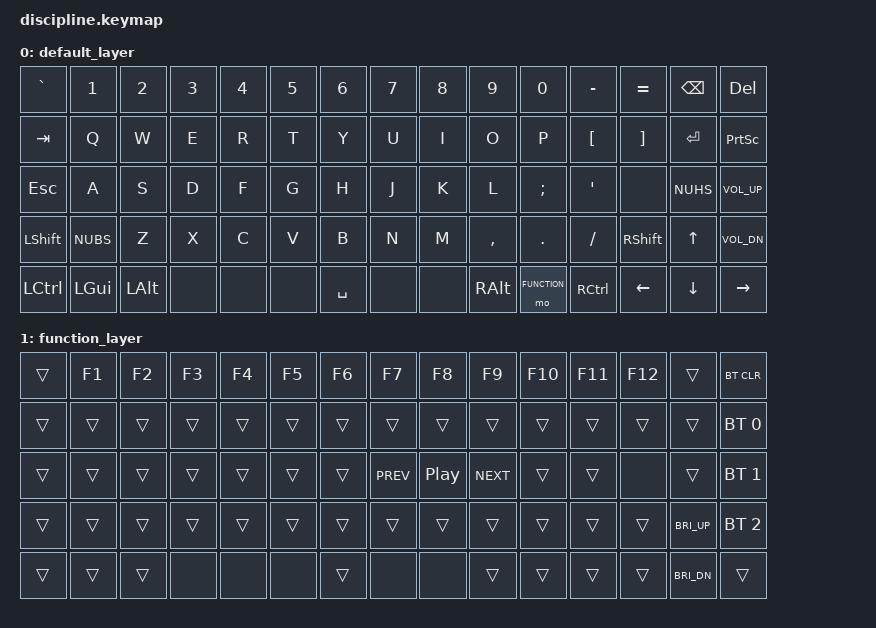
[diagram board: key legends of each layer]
#include <behaviors.dtsi>
#include <dt-bindings/zmk/keys.h>
#include <dt-bindings/zmk/bt.h>

#define DEFAULT 0
#define FUNCTION 1

// ┌───┬───┬───┬───┬───┬───┬───┬───┬───┬───┬───┬───┬───┬───────┬───┐
// │ ^ │ 1 │ 2 │ 3 │ 4 │ 5 │ 6 │ 7 │ 8 │ 9 │ 0 │ ß │ ´ │ <-    │DEL│
// ├───┴─┬─┴─┬─┴─┬─┴─┬─┴─┬─┴─┬─┴─┬─┴─┬─┴─┬─┴─┬─┴─┬─┴─┬─┴─┬─────┼───┤
// │ TAB │ Q │ W │ E │ R │ T │ Z │ U │ I │ O │ P │ Ü │ + │ENTER│PRT│
// ├─────┴┬──┴┬──┴┬──┴┬──┴┬──┴┬──┴┬──┴┬──┴┬──┴┬──┴┬──┴┬──┴┐    ├───┤
// │ ESC  │ A │ S │ D │ F │ G │ H │ J │ K │ L │ Ö │ Ä │ # │    │VUP│
// ├────┬─┴─┬─┴─┬─┴─┬─┴─┬─┴─┬─┴─┬─┴─┬─┴─┬─┴─┬─┴─┬─┴─┬─┴───┴┬───┼───┤
// │Shif│ < │ Y │ X │ C │ V │ B │ N │ M │ , │ . │ - │SHIFT │ ↑ │VDN│
// ├────┼───┴┬──┴─┬─┴───┴───┴───┴───┴───┴──┬┴──┬┴──┬┴──┬───┼───┼───┤
// │CTRL│SUP │ALT │                        │ALT│FN │CTR│ ← │ ↓ │ → │
// └────┴────┴────┴────────────────────────┴───┴───┴───┴───┴───┴───┘

/ {
	keymap {
		compatible = "zmk,keymap";

		default_layer {
			bindings = <
				&kp GRAVE	&kp N1		&kp N2		&kp N3	&kp N4	&kp N5	&kp N6		&kp N7	&kp N8	&kp N9		&kp N0		&kp MINUS	&kp EQUAL	&kp BSPC	&kp DEL
				&kp TAB		&kp Q		&kp W		&kp E	&kp R	&kp T	&kp Y		&kp U	&kp I	&kp O		&kp P		&kp LBKT	&kp RBKT	&kp RET		&kp PSCRN
				&kp ESC		&kp A		&kp S		&kp D	&kp F	&kp G	&kp H		&kp J	&kp K	&kp L		&kp SEMI	&kp SQT		&none		&kp NUHS	&kp C_VOL_UP
				&kp LSHFT	&kp NUBS	&kp Z		&kp X	&kp C	&kp V	&kp B		&kp N	&kp M	&kp COMMA	&kp DOT		&kp FSLH	&kp RSHFT	&kp UP		&kp C_VOL_DN
				&kp LCTRL	&kp LGUI	&kp LALT	&none	&none	&none	&kp SPACE	&none	&none	&kp RALT	&mo FUNCTION	&kp RCTRL	&kp LEFT	&kp DOWN	&kp RIGHT	
			>;

		};

		function_layer {
			bindings = <
				&trans	&kp F1	&kp F2	&kp F3	&kp F4	&kp F5	&kp F6	&kp F7	&kp F8	&kp F9	&kp F10	&kp F11	&kp F12	&trans	&bt BT_CLR
				&trans	&trans	&trans	&trans	&trans	&trans	&trans	&trans	&trans	&trans	&trans	&trans	&trans	&trans	&bt BT_SEL 0
				&trans	&trans	&trans	&trans	&trans	&trans	&trans	&kp C_PREV	&kp C_PP	&kp C_NEXT	&trans	&trans	&none	&trans	&bt BT_SEL 1
				&trans	&trans	&trans	&trans	&trans	&trans	&trans	&trans	&trans	&trans	&trans	&trans	&trans	&kp C_BRI_UP	&bt BT_SEL 2
				&trans	&trans	&trans	&none	&none	&none	&trans	&none	&none	&trans	&trans	&trans	&trans	&kp C_BRI_DN	&trans	
			>;
		};
	};
};
